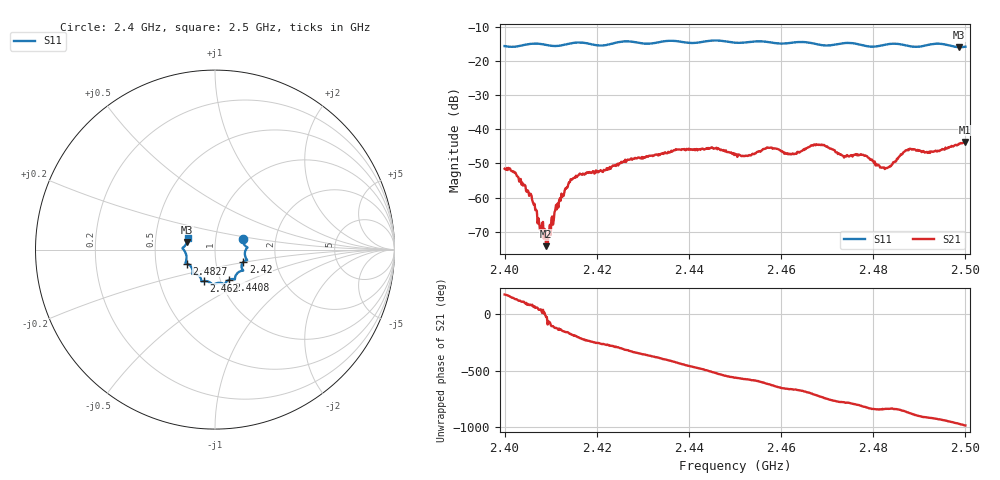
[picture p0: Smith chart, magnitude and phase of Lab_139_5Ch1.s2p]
# Hz S RI R 50
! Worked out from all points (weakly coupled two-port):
!   601 points, 2.4 GHz to 2.5 GHz, reference 50 ohm
!   highest |S21| = -43.66 dB at 2.4998 GHz (marker M1); lowest = -74.3 dB at 2.409 GHz (marker M2)
!   lowest |S11| = -15.9 dB at 2.4987 GHz (marker M3), VSWR 1.38, Z = 36.5 + j3.21 ohm
!   |S11| at or under -10 dB: start of sweep to end of sweep
!   S12 and S22 are empty: the file has one direction only
!   S11 on the Smith chart (normalised r, x): 2.4 GHz: 1.35, +0.17; 2.42 GHz: 1.36, -0.19; 2.4408 GHz: 1.10, -0.38; 2.462 GHz: 0.83, -0.30; 2.4827 GHz: 0.72, -0.12; 2.5 GHz: 0.73, +0.09
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2.4e9  0.1552 0.0617  -0.00264 0.000197  0 0  0 0
2.402167e9  0.1598 0.0341  -0.00171 0.00154  0 0  0 0
2.4055e9  0.1793 0.0132  6.69e-05 0.00113  0 0  0 0
2.409e9  0.1738 0.00298  0.000177 -7.63e-05  0 0  0 0
2.4095e9  0.1713 -0.0015  0.000143 -0.000235  0 0  0 0
2.4115e9  0.166 -0.0242  -0.000492 -0.000654  0 0  0 0
2.4135e9  0.1718 -0.0469  -0.0013 -0.000553  0 0  0 0
2.416667e9  0.1785 -0.059  -0.00181 0.00123  0 0  0 0
2.42e9  0.1571 -0.0694  -0.000706 0.00223  0 0  0 0
2.433333e9  0.1121 -0.1529  0.00379 -0.00164  0 0  0 0
2.440833e9  0.0781 -0.1685  -0.00129 -0.00483  0 0  0 0
2.45e9  0.0271 -0.1853  -0.00409 0.00162  0 0  0 0
2.4575e9  -0.0205 -0.1889  -0.000823 0.0053  0 0  0 0
2.462e9  -0.0619 -0.1752  0.00235 0.0037  0 0  0 0
2.466667e9  -0.0765 -0.1681  0.00552 0.00184  0 0  0 0
2.478167e9  -0.1259 -0.1128  -0.000699 -0.00403  0 0  0 0
2.482667e9  -0.1577 -0.0775  -0.00126 -0.00239  0 0  0 0
2.483333e9  -0.1616 -0.0764  -0.00132 -0.00247  0 0  0 0
2.4875e9  -0.1592 -0.0558  -0.00433 -0.00262  0 0  0 0
2.498667e9  -0.1548 0.0428  -0.00192 0.00589  0 0  0 0
2.499833e9  -0.1514 0.0601  -0.000608 0.00653  0 0  0 0
2.5e9  -0.1513 0.0626  -0.000531 0.00635  0 0  0 0
